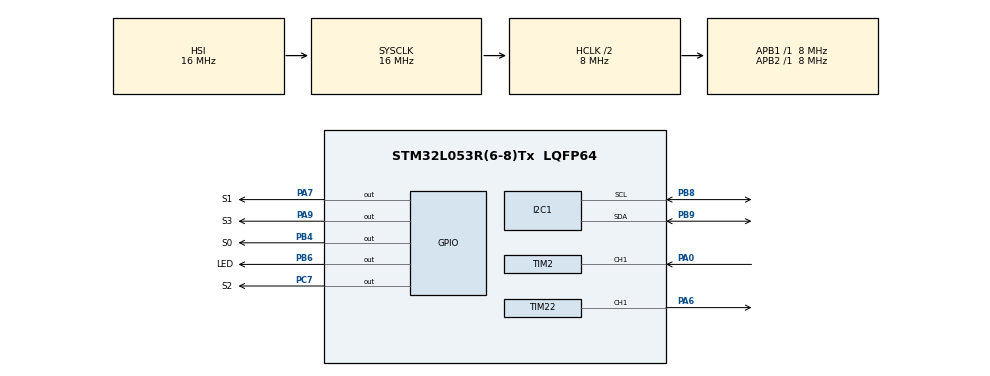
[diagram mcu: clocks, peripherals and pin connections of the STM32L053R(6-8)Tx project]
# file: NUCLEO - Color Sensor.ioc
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I2C1.Timing=0x00201D2B
Mcu.Family=STM32L0
Mcu.Name=STM32L053R(6-8)Tx
Mcu.Package=LQFP64
NVIC.TIM2_IRQn=true\:0\:0\:false\:false\:true\:true\:true\:true
PA0.Signal=S_TIM2_CH1
PA6.Signal=S_TIM22_CH1
PA7.GPIO_Label=S1
PA7.Signal=GPIO_Output
PA9.GPIO_Label=S3
PA9.Signal=GPIO_Output
PB4.GPIO_Label=S0
PB4.Signal=GPIO_Output
PB6.GPIO_Label=LED
PB6.Signal=GPIO_Output
PB8.Mode=I2C
PB8.Signal=I2C1_SCL
PB9.Mode=I2C
PB9.Signal=I2C1_SDA
PC7.GPIO_Label=S2
PC7.Signal=GPIO_Output
ProjectManager.HeapSize=0x200
ProjectManager.StackSize=0x400
ProjectManager.TargetToolchain=STM32CubeIDE
RCC.AHBCLKDivider=RCC_SYSCLK_DIV2
RCC.AHBFreq_Value=8000000
RCC.APB1Freq_Value=8000000
RCC.APB1TimFreq_Value=8000000
RCC.APB2Freq_Value=8000000
RCC.APB2TimFreq_Value=8000000
RCC.HCLKFreq_Value=8000000
RCC.HSE_VALUE=8000000
RCC.HSI16_VALUE=16000000
RCC.HSI48_VALUE=48000000
RCC.HSI_VALUE=16000000
RCC.MSI_VALUE=2097000
RCC.SYSCLKFreq_VALUE=16000000
RCC.SYSCLKSource=RCC_SYSCLKSOURCE_HSI
RCC.VCOOutputFreq_Value=48000000
SH.S_TIM22_CH1.0=TIM22_CH1,PWM Generation1 CH1
SH.S_TIM2_CH1.0=TIM2_CH1,Input_Capture1_from_TI1
TIM2.Channel-Input_Capture1_from_TI1=TIM_CHANNEL_1
TIM2.ICPolarity_CH1=TIM_INPUTCHANNELPOLARITY_BOTHEDGE
TIM2.Prescaler=8-1
TIM22.AutoReloadPreload=TIM_AUTORELOAD_PRELOAD_ENABLE
TIM22.Channel-PWM\ Generation1\ CH1=TIM_CHANNEL_1
TIM22.Period=500-1
TIM22.Prescaler=8-1
VP_TIM22_VS_ClockSourceINT.Mode=Internal
board=NUCLEO-L053R8

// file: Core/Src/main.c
/* USER CODE BEGIN Header */
/**
  ******************************************************************************
  * @file           : main.c
  * @brief          : Main program body
  ******************************************************************************
  * @attention
  *
  * Copyright (c) 2025 STMicroelectronics.
  * All rights reserved.
  *
  * This software is licensed under terms that can be found in the LICENSE file
  * in the root directory of this software component.
  * If no LICENSE file comes with this software, it is provided AS-IS.
  *
  ******************************************************************************
  */
/* USER CODE END Header */
#include "main.h"

/* USER CODE BEGIN Includes */
#include "ssd1306.h"
#include "ssd1306_conf.h"
#include "ssd1306_fonts.h"
#include "ssd1306_tests.h"
/* USER CODE END Includes */

/* USER CODE BEGIN PTD */
typedef enum{
	FIRST_CAPTURE,
	SECOND_CAPTURE
}LIGHT_States_Typedef;

typedef enum{
	WHITE,
	RED,
	GREEN,
	BLUE
}LIGHT_Color_Typedef;

typedef struct{
	LIGHT_States_Typedef State;
	LIGHT_Color_Typedef Color;

	uint32_t FirstGetter, SecondGetter, Delta;
	float Frequency;

}IC_LIGHT_Typedef;
/* USER CODE END PTD */

/* USER CODE BEGIN PD */
#define CLK 8000000
#define PSC 8
#define BUZ_CLK (CLK / PSC)

#define BUZ_DO  (BUZ_CLK / 263.63)
#define BUZ_RE  (BUZ_CLK / 293.66)
#define BUZ_MI  (BUZ_CLK / 329.63)
#define BUZ_FA  (BUZ_CLK / 349.23)
#define BUZ_SOL (BUZ_CLK / 391.99)
#define BUZ_LA  (BUZ_CLK / 440)
#define BUZ_SI  (BUZ_CLK / 493.88)
/* USER CODE END PD */

I2C_HandleTypeDef hi2c1;

TIM_HandleTypeDef htim2;
TIM_HandleTypeDef htim22;

/* USER CODE BEGIN PV */
IC_LIGHT_Typedef Readder;
/* USER CODE END PV */

void SystemClock_Config(void);
static void MX_GPIO_Init(void);
static void MX_I2C1_Init(void);
static void MX_TIM2_Init(void);
static void MX_TIM22_Init(void);
/* USER CODE BEGIN PFP */
void MELODY_Init(void){
  TIM22->ARR = 1;
  TIM22->CCR1 = 1;
}
void MELODY_Control(uint32_t note, uint32_t duration){
  TIM22->ARR = note;
  TIM22->CCR1 = TIM22->ARR / 2;

  HAL_Delay(duration);

  TIM22->ARR = 1;
  TIM22->CCR1 = 1;

  HAL_Delay(duration);
}
void MELODY_Startup(void){
	MELODY_Control(BUZ_SOL, 100);
	MELODY_Control(BUZ_MI, 100);
	MELODY_Control(BUZ_DO, 100);
	MELODY_Control(BUZ_RE, 100);
	MELODY_Control(BUZ_DO, 100);
	MELODY_Control(BUZ_MI, 100);
	MELODY_Control(BUZ_SOL, 100);
}
void LIGHT_Startup(void){
	// Light init
	HAL_Delay(200);
	HAL_GPIO_WritePin(LED_GPIO_Port, LED_Pin, GPIO_PIN_SET);
	MELODY_Control(BUZ_MI, 100);
	HAL_GPIO_WritePin(LED_GPIO_Port, LED_Pin, GPIO_PIN_RESET);
	HAL_Delay(200);
	HAL_GPIO_WritePin(LED_GPIO_Port, LED_Pin, GPIO_PIN_SET);
	MELODY_Control(BUZ_MI, 100);
	HAL_GPIO_WritePin(LED_GPIO_Port, LED_Pin, GPIO_PIN_RESET);

	HAL_Delay(500);
	HAL_GPIO_WritePin(LED_GPIO_Port, LED_Pin, GPIO_PIN_SET);

	ssd1306_Fill(Black);
	ssd1306_SetCursor(31, 27);
	ssd1306_WriteString("Pronto :D", Font_7x10, White);
	ssd1306_UpdateScreen();
	HAL_Delay(500);

	// Set start configuration
	HAL_GPIO_WritePin(S0_GPIO_Port, S0_Pin, GPIO_PIN_RESET);
	HAL_GPIO_WritePin(S1_GPIO_Port, S1_Pin, GPIO_PIN_RESET);

	// Define filter
	HAL_GPIO_WritePin(S2_GPIO_Port, S2_Pin, GPIO_PIN_RESET);
	HAL_GPIO_WritePin(S3_GPIO_Port, S3_Pin, GPIO_PIN_RESET);
}

void HAL_TIM_IC_CaptureCallback(TIM_HandleTypeDef *htim){
	if(htim == &htim2){
		if(Readder.State == FIRST_CAPTURE){
			Readder.FirstGetter = HAL_TIM_ReadCapturedValue(htim, TIM_CHANNEL_1);
			Readder.State = SECOND_CAPTURE;
			__HAL_TIM_SET_CAPTUREPOLARITY(htim, TIM_CHANNEL_1, TIM_INPUTCHANNELPOLARITY_FALLING);
		} else {
			Readder.SecondGetter = HAL_TIM_ReadCapturedValue(htim, TIM_CHANNEL_1);

			if(Readder.FirstGetter > Readder.SecondGetter){
				Readder.Delta = (0xFFFF - Readder.FirstGetter) + Readder.SecondGetter;
			}

			else {
				Readder.Delta = Readder.SecondGetter - Readder.FirstGetter;
			}

			Readder.Frequency = CLK / Readder.Delta;

			if (Readder.Delta > 800 && Readder.Delta < 830) Readder.Color = RED;
			if (Readder.Delta > 830 && Readder.Delta < 1000) Readder.Color = GREEN;
			if (Readder.Delta > 1700 && Readder.Delta < 1800) Readder.Color = BLUE;
			if (Readder.Delta > 1800 || Readder.Delta < 800) Readder.Color = WHITE;

			Readder.State = FIRST_CAPTURE;
			__HAL_TIM_SET_CAPTUREPOLARITY(htim, TIM_CHANNEL_1, TIM_INPUTCHANNELPOLARITY_RISING);
		}

	}
}

/* USER CODE END PFP */

int main(void)
{

  /* MCU Configuration--------------------------------------------------------*/

  /* Reset of all peripherals, Initializes the Flash interface and the Systick. */
  HAL_Init();

  /* Configure the system clock */
  SystemClock_Config();

  /* Initialize all configured peripherals */
  MX_GPIO_Init();
  MX_I2C1_Init();
  MX_TIM2_Init();
  MX_TIM22_Init();
  /* USER CODE BEGIN 2 */
  ssd1306_Init();

  ssd1306_Fill(Black);
  ssd1306_SetCursor(31, 27);
  ssd1306_WriteString("Iniciando...", Font_7x10, White);
  ssd1306_UpdateScreen();

  MELODY_Init();
  HAL_TIM_PWM_Start(&htim22, TIM_CHANNEL_1);

  MELODY_Startup();
  LIGHT_Startup();

  HAL_TIM_IC_Start_IT(&htim2, TIM_CHANNEL_1);

  /* USER CODE END 2 */

  /* Infinite loop */
  /* USER CODE BEGIN WHILE */
  while (1) {
	  if(Readder.Color == WHITE){
		ssd1306_Fill(Black);
		ssd1306_SetCursor(10, 27);
		ssd1306_WriteString("Aproxime uma caixa", Font_6x8, White);
		ssd1306_UpdateScreen();
	  }

	  if(Readder.Color == RED){
		ssd1306_Fill(Black);
		ssd1306_SetCursor(20, 27);
		ssd1306_WriteString("VERMELHO", Font_6x8, White);
		ssd1306_UpdateScreen();
	  }

	  if(Readder.Color == GREEN){
		ssd1306_Fill(Black);
		ssd1306_SetCursor(25, 27);
		ssd1306_WriteString("VERDE", Font_6x8, White);
		ssd1306_UpdateScreen();
	  }

	  if(Readder.Color == BLUE){
		ssd1306_Fill(Black);
		ssd1306_SetCursor(25, 27);
		ssd1306_WriteString("AZUL", Font_6x8, White);
		ssd1306_UpdateScreen();
	  }

    /* USER CODE END WHILE */

  }
}

void SystemClock_Config(void)
{
  RCC_OscInitTypeDef RCC_OscInitStruct = {0};
  RCC_ClkInitTypeDef RCC_ClkInitStruct = {0};
  RCC_PeriphCLKInitTypeDef PeriphClkInit = {0};

  /** Configure the main internal regulator output voltage
  */
  __HAL_PWR_VOLTAGESCALING_CONFIG(PWR_REGULATOR_VOLTAGE_SCALE1);

  /** Initializes the RCC Oscillators according to the specified parameters
  * in the RCC_OscInitTypeDef structure.
  */
  RCC_OscInitStruct.OscillatorType = RCC_OSCILLATORTYPE_HSI;
  RCC_OscInitStruct.HSIState = RCC_HSI_ON;
  RCC_OscInitStruct.HSICalibrationValue = RCC_HSICALIBRATION_DEFAULT;
  RCC_OscInitStruct.PLL.PLLState = RCC_PLL_NONE;
  if (HAL_RCC_OscConfig(&RCC_OscInitStruct) != HAL_OK)
  {
    Error_Handler();
  }

  /** Initializes the CPU, AHB and APB buses clocks
  */
  RCC_ClkInitStruct.ClockType = RCC_CLOCKTYPE_HCLK|RCC_CLOCKTYPE_SYSCLK
                              |RCC_CLOCKTYPE_PCLK1|RCC_CLOCKTYPE_PCLK2;
  RCC_ClkInitStruct.SYSCLKSource = RCC_SYSCLKSOURCE_HSI;
  RCC_ClkInitStruct.AHBCLKDivider = RCC_SYSCLK_DIV2;
  RCC_ClkInitStruct.APB1CLKDivider = RCC_HCLK_DIV1;
  RCC_ClkInitStruct.APB2CLKDivider = RCC_HCLK_DIV1;

  if (HAL_RCC_ClockConfig(&RCC_ClkInitStruct, FLASH_LATENCY_0) != HAL_OK)
  {
    Error_Handler();
  }
  PeriphClkInit.PeriphClockSelection = RCC_PERIPHCLK_I2C1;
  PeriphClkInit.I2c1ClockSelection = RCC_I2C1CLKSOURCE_PCLK1;
  if (HAL_RCCEx_PeriphCLKConfig(&PeriphClkInit) != HAL_OK)
  {
    Error_Handler();
  }
}

static void MX_I2C1_Init(void)
{

  hi2c1.Instance = I2C1;
  hi2c1.Init.Timing = 0x00201D2B;
  hi2c1.Init.OwnAddress1 = 0;
  hi2c1.Init.AddressingMode = I2C_ADDRESSINGMODE_7BIT;
  hi2c1.Init.DualAddressMode = I2C_DUALADDRESS_DISABLE;
  hi2c1.Init.OwnAddress2 = 0;
  hi2c1.Init.OwnAddress2Masks = I2C_OA2_NOMASK;
  hi2c1.Init.GeneralCallMode = I2C_GENERALCALL_DISABLE;
  hi2c1.Init.NoStretchMode = I2C_NOSTRETCH_DISABLE;
  if (HAL_I2C_Init(&hi2c1) != HAL_OK)
  {
    Error_Handler();
  }

  /** Configure Analogue filter
  */
  if (HAL_I2CEx_ConfigAnalogFilter(&hi2c1, I2C_ANALOGFILTER_ENABLE) != HAL_OK)
  {
    Error_Handler();
  }

  /** Configure Digital filter
  */
  if (HAL_I2CEx_ConfigDigitalFilter(&hi2c1, 0) != HAL_OK)
  {
    Error_Handler();
  }

}

static void MX_TIM2_Init(void)
{

  TIM_MasterConfigTypeDef sMasterConfig = {0};
  TIM_IC_InitTypeDef sConfigIC = {0};

  htim2.Instance = TIM2;
  htim2.Init.Prescaler = 8-1;
  htim2.Init.CounterMode = TIM_COUNTERMODE_UP;
  htim2.Init.Period = 65535;
  htim2.Init.ClockDivision = TIM_CLOCKDIVISION_DIV1;
  htim2.Init.AutoReloadPreload = TIM_AUTORELOAD_PRELOAD_DISABLE;
  if (HAL_TIM_IC_Init(&htim2) != HAL_OK)
  {
    Error_Handler();
  }
  sMasterConfig.MasterOutputTrigger = TIM_TRGO_RESET;
  sMasterConfig.MasterSlaveMode = TIM_MASTERSLAVEMODE_DISABLE;
  if (HAL_TIMEx_MasterConfigSynchronization(&htim2, &sMasterConfig) != HAL_OK)
  {
    Error_Handler();
  }
  sConfigIC.ICPolarity = TIM_INPUTCHANNELPOLARITY_BOTHEDGE;
  sConfigIC.ICSelection = TIM_ICSELECTION_DIRECTTI;
  sConfigIC.ICPrescaler = TIM_ICPSC_DIV1;
  sConfigIC.ICFilter = 0;
  if (HAL_TIM_IC_ConfigChannel(&htim2, &sConfigIC, TIM_CHANNEL_1) != HAL_OK)
  {
    Error_Handler();
  }

}

static void MX_TIM22_Init(void)
{

  TIM_ClockConfigTypeDef sClockSourceConfig = {0};
  TIM_MasterConfigTypeDef sMasterConfig = {0};
  TIM_OC_InitTypeDef sConfigOC = {0};

  htim22.Instance = TIM22;
  htim22.Init.Prescaler = 8-1;
  htim22.Init.CounterMode = TIM_COUNTERMODE_UP;
  htim22.Init.Period = 500-1;
  htim22.Init.ClockDivision = TIM_CLOCKDIVISION_DIV1;
  htim22.Init.AutoReloadPreload = TIM_AUTORELOAD_PRELOAD_ENABLE;
  if (HAL_TIM_Base_Init(&htim22) != HAL_OK)
  {
    Error_Handler();
  }
  sClockSourceConfig.ClockSource = TIM_CLOCKSOURCE_INTERNAL;
  if (HAL_TIM_ConfigClockSource(&htim22, &sClockSourceConfig) != HAL_OK)
  {
    Error_Handler();
  }
  if (HAL_TIM_PWM_Init(&htim22) != HAL_OK)
  {
    Error_Handler();
  }
  sMasterConfig.MasterOutputTrigger = TIM_TRGO_RESET;
  sMasterConfig.MasterSlaveMode = TIM_MASTERSLAVEMODE_DISABLE;
  if (HAL_TIMEx_MasterConfigSynchronization(&htim22, &sMasterConfig) != HAL_OK)
  {
    Error_Handler();
  }
  sConfigOC.OCMode = TIM_OCMODE_PWM1;
  sConfigOC.Pulse = 0;
  sConfigOC.OCPolarity = TIM_OCPOLARITY_HIGH;
  sConfigOC.OCFastMode = TIM_OCFAST_DISABLE;
  if (HAL_TIM_PWM_ConfigChannel(&htim22, &sConfigOC, TIM_CHANNEL_1) != HAL_OK)
  {
    Error_Handler();
  }
  HAL_TIM_MspPostInit(&htim22);

}

static void MX_GPIO_Init(void)
{
  GPIO_InitTypeDef GPIO_InitStruct = {0};

  /* GPIO Ports Clock Enable */
  __HAL_RCC_GPIOA_CLK_ENABLE();
  __HAL_RCC_GPIOC_CLK_ENABLE();
  __HAL_RCC_GPIOB_CLK_ENABLE();

  /*Configure GPIO pin Output Level */
  HAL_GPIO_WritePin(GPIOA, S1_Pin|S3_Pin, GPIO_PIN_RESET);

  /*Configure GPIO pin Output Level */
  HAL_GPIO_WritePin(S2_GPIO_Port, S2_Pin, GPIO_PIN_RESET);

  /*Configure GPIO pin Output Level */
  HAL_GPIO_WritePin(GPIOB, S0_Pin|LED_Pin, GPIO_PIN_RESET);

  /*Configure GPIO pins : S1_Pin S3_Pin */
  GPIO_InitStruct.Pin = S1_Pin|S3_Pin;
  GPIO_InitStruct.Mode = GPIO_MODE_OUTPUT_PP;
  GPIO_InitStruct.Pull = GPIO_NOPULL;
  GPIO_InitStruct.Speed = GPIO_SPEED_FREQ_LOW;
  HAL_GPIO_Init(GPIOA, &GPIO_InitStruct);

  /*Configure GPIO pin : S2_Pin */
  GPIO_InitStruct.Pin = S2_Pin;
  GPIO_InitStruct.Mode = GPIO_MODE_OUTPUT_PP;
  GPIO_InitStruct.Pull = GPIO_NOPULL;
  GPIO_InitStruct.Speed = GPIO_SPEED_FREQ_LOW;
  HAL_GPIO_Init(S2_GPIO_Port, &GPIO_InitStruct);

  /*Configure GPIO pins : S0_Pin LED_Pin */
  GPIO_InitStruct.Pin = S0_Pin|LED_Pin;
  GPIO_InitStruct.Mode = GPIO_MODE_OUTPUT_PP;
  GPIO_InitStruct.Pull = GPIO_NOPULL;
  GPIO_InitStruct.Speed = GPIO_SPEED_FREQ_LOW;
  HAL_GPIO_Init(GPIOB, &GPIO_InitStruct);

}

void Error_Handler(void)
{
  __disable_irq();
  while (1)
  {
  }
}
